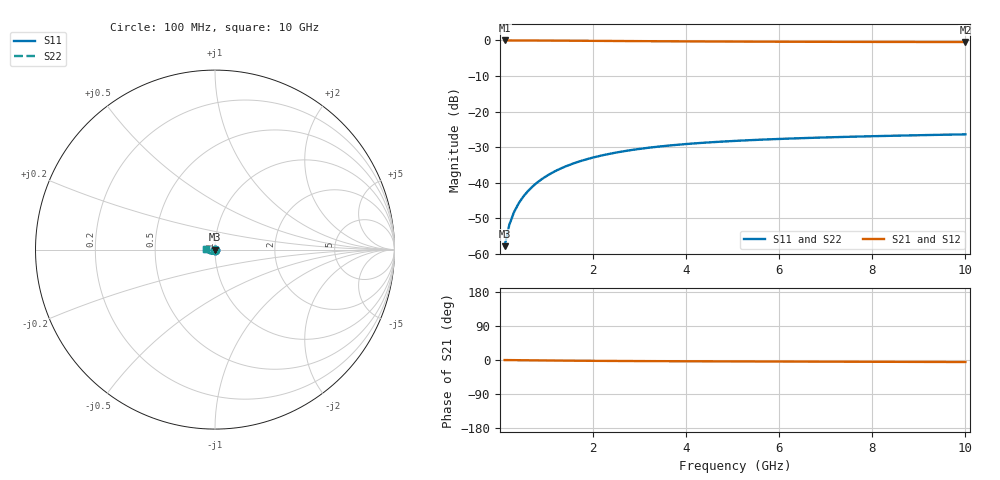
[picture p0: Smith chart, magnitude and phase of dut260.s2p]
! Touchstone file exported from HFSS 2024.1.0
!  File:  C:/UserFiles/LocalFiles/RDL_TSV_Batchsim/temp_TSV1_260_1779391383.aedt
!  Generated:  03:29:52 AM May 22, 2026
!  Design:  TSV1
!  Project:  temp_TSV1_260_1779391383
!  Setup:  Setup1
!  Solution:  Sweep
! Variables:
!  dtsv = 10.26um
!  hbump = 3um
!  htsv = 83.51um
!  lrdl = 252.1521522um
!  p = 40
!  p1 = 50.86um
!  t = 500um
!  trdl = 3um
!  wrdl = 24.89489489um
# GHz S MA R 50.000000
! Terminal data exported
! Port[1] = TSV22_T1
! Port[2] = TSV22_T2
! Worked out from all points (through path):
!   100 points, 100 MHz to 10 GHz, reference 50 ohm
!   highest |S21| = 0.00 dB at 100 MHz (marker M1); lowest = -0.4 dB at 10 GHz (marker M2)
!   lowest |S11| = -57.8 dB at 100 MHz (marker M3), VSWR 1.00, Z = 50 - j0.129 ohm
!   |S11| at or under -10 dB: start of sweep to end of sweep
!   |S22| runs from -57.8 to -26.4 dB; largest |S21 - S12| = 8.1e-15
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0.1  0.001289 -85.5  0.9998 -0.1  0.9998 -0.1  0.001289 -85.5
! Gamma 0 0 0 0
! Port Impedance 50 0 50 0
0.2  0.002567 -90.3  0.9997 -0.3  0.9997 -0.3  0.002567 -90.3
0.3  0.003846 -93.1  0.9995 -0.4  0.9995 -0.4  0.003846 -93.1
0.4  0.005121 -95.4  0.9992 -0.5  0.9992 -0.5  0.005121 -95.4
0.5  0.006386 -97.5  0.9988 -0.6  0.9988 -0.6  0.006386 -97.5
0.6  0.007639 -99.5  0.9983 -0.8  0.9983 -0.8  0.007639 -99.5
0.7  0.008875 -101.5  0.9978 -0.9  0.9978 -0.9  0.008875 -101.5
0.8  0.01009 -103.3  0.9973 -1.0  0.9973 -1.0  0.01009 -103.3
0.9  0.01129 -105.2  0.9966 -1.1  0.9966 -1.1  0.01129 -105.2
1.1  0.01361 -108.8  0.9952 -1.3  0.9952 -1.3  0.01361 -108.8
1.4  0.01689 -113.9  0.9928 -1.7  0.9928 -1.7  0.01689 -113.9
1.6  0.01893 -117.1  0.991 -1.8  0.991 -1.8  0.01893 -117.1
1.8  0.02085 -120.2  0.9892 -2.0  0.9892 -2.0  0.02085 -120.2
2.1  0.02351 -124.6  0.9863 -2.3  0.9863 -2.3  0.02351 -124.6
2.5  0.02664 -130.0  0.9826 -2.5  0.9826 -2.5  0.02664 -130.0
2.9  0.02935 -135.0  0.979 -2.8  0.979 -2.8  0.02935 -135.0
3.4  0.03223 -140.6  0.9748 -3.0  0.9748 -3.0  0.03223 -140.6
4.2  0.03587 -148.4  0.9691 -3.4  0.9691 -3.4  0.03587 -148.4
5.1  0.03896 -155.7  0.964 -3.7  0.964 -3.7  0.03896 -155.7
6.7  0.04285 -166.3  0.9575 -4.3  0.9575 -4.3  0.04285 -166.3
8.4  0.04578 -175.3  0.953 -4.8  0.953 -4.8  0.04578 -175.3
10  0.04797 177.7  0.9501 -5.4  0.9501 -5.4  0.04797 177.7
